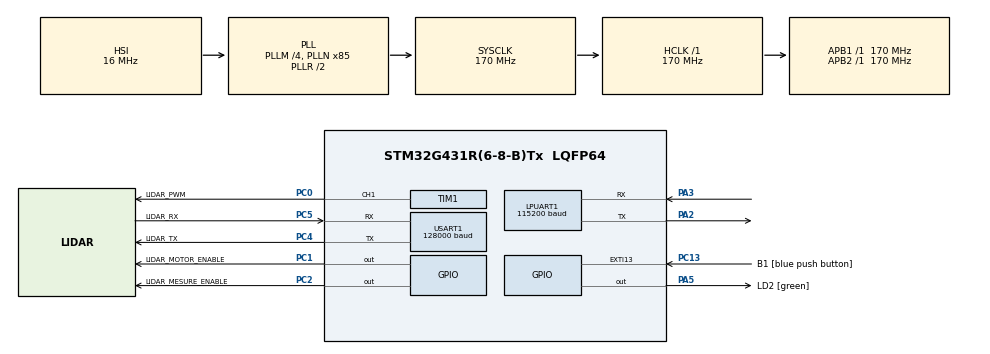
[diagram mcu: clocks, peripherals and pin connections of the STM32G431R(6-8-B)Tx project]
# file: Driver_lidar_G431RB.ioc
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Dma.Request0=USART1_RX
Dma.USART1_RX.0.Direction=DMA_PERIPH_TO_MEMORY
Dma.USART1_RX.0.EventEnable=DISABLE
Dma.USART1_RX.0.Instance=DMA1_Channel1
Dma.USART1_RX.0.MemDataAlignment=DMA_MDATAALIGN_BYTE
Dma.USART1_RX.0.MemInc=DMA_MINC_ENABLE
Dma.USART1_RX.0.Mode=DMA_CIRCULAR
Dma.USART1_RX.0.PeriphDataAlignment=DMA_PDATAALIGN_BYTE
Dma.USART1_RX.0.PeriphInc=DMA_PINC_DISABLE
Dma.USART1_RX.0.Polarity=HAL_DMAMUX_REQ_GEN_RISING
Dma.USART1_RX.0.Priority=DMA_PRIORITY_LOW
Dma.USART1_RX.0.RequestNumber=1
Dma.USART1_RX.0.SignalID=NONE
Dma.USART1_RX.0.SyncEnable=DISABLE
Dma.USART1_RX.0.SyncPolarity=HAL_DMAMUX_SYNC_NO_EVENT
Dma.USART1_RX.0.SyncRequestNumber=1
Dma.USART1_RX.0.SyncSignalID=NONE
LPUART1.BaudRate=115200
Mcu.Family=STM32G4
Mcu.Name=STM32G431R(6-8-B)Tx
Mcu.Package=LQFP64
NVIC.DMA1_Channel1_IRQn=true\:0\:0\:false\:false\:true\:false\:true\:true
NVIC.EXTI15_10_IRQn=true\:0\:0\:false\:false\:true\:true\:true\:true
NVIC.PriorityGroup=NVIC_PRIORITYGROUP_4
NVIC.USART1_IRQn=true\:0\:0\:false\:false\:true\:true\:true\:true
PA13.GPIO_Label=T_SWDIO
PA13.Mode=Serial_Wire
PA13.Signal=SYS_JTMS-SWDIO
PA14.GPIO_Label=T_SWCLK
PA14.Mode=Serial_Wire
PA14.Signal=SYS_JTCK-SWCLK
PA2.Mode=Asynchronous
PA2.Signal=LPUART1_TX
PA3.Mode=Asynchronous
PA3.Signal=LPUART1_RX
PA5.GPIO_Label=LD2 [green]
PA5.Signal=GPIO_Output
PB3.GPIO_Label=T_SWO
PB3.Signal=SYS_JTDO-SWO
PC0.GPIO_Label=LIDAR_PWM
PC0.Signal=S_TIM1_CH1
PC1.GPIO_Label=LIDAR_MOTOR_ENABLE
PC1.Signal=GPIO_Output
PC13.GPIO_Label=B1 [blue push button]
PC13.Signal=GPXTI13
PC14-OSC32_IN.Mode=LSE-External-Oscillator
PC14-OSC32_IN.Signal=RCC_OSC32_IN
PC15-OSC32_OUT.Mode=LSE-External-Oscillator
PC15-OSC32_OUT.Signal=RCC_OSC32_OUT
PC2.GPIO_Label=LIDAR_MESURE_ENABLE
PC2.Signal=GPIO_Output
PC4.GPIO_Label=LIDAR_TX
PC4.Mode=Asynchronous
PC4.Signal=USART1_TX
PC5.GPIO_Label=LIDAR_RX
PC5.Mode=Asynchronous
PC5.Signal=USART1_RX
PF0-OSC_IN.Mode=HSE-External-Oscillator
PF0-OSC_IN.Signal=RCC_OSC_IN
PF1-OSC_OUT.Mode=HSE-External-Oscillator
PF1-OSC_OUT.Signal=RCC_OSC_OUT
ProjectManager.HeapSize=0x200
ProjectManager.StackSize=0x400
ProjectManager.TargetToolchain=STM32CubeIDE
RCC.ADC12Freq_Value=170000000
RCC.AHBFreq_Value=170000000
RCC.APB1Freq_Value=170000000
RCC.APB1TimFreq_Value=170000000
RCC.APB2Freq_Value=170000000
RCC.APB2TimFreq_Value=170000000
RCC.CortexFreq_Value=170000000
RCC.EXTERNAL_CLOCK_VALUE=12288000
RCC.HCLKFreq_Value=170000000
RCC.HSE_VALUE=24000000
RCC.HSI48_VALUE=48000000
RCC.HSI_VALUE=16000000
RCC.PLLM=RCC_PLLM_DIV4
RCC.PLLN=85
RCC.RTCClockSelection=RCC_RTCCLKSOURCE_LSE
RCC.SYSCLKFreq_VALUE=170000000
RCC.SYSCLKSource=RCC_SYSCLKSOURCE_PLLCLK
RCC.USBFreq_Value=170000000
RCC.VCOOutputFreq_Value=340000000
SH.S_TIM1_CH1.0=TIM1_CH1,PWM Generation1 CH1
TIM1.Channel-PWM\ Generation1\ CH1=TIM_CHANNEL_1
USART1.BaudRate=128000
USART1.VirtualMode-Asynchronous=VM_ASYNC
VP_SYS_VS_DBSignals.Mode=DisableDeadBatterySignals
board=NUCLEO-G431RB

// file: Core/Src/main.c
/* USER CODE BEGIN Header */
/**
  ******************************************************************************
  * @file           : main.c
  * @brief          : Main program body
  ******************************************************************************
  * @attention
  *
  * Copyright (c) 2023 STMicroelectronics.
  * All rights reserved.
  *
  * This software is licensed under terms that can be found in the LICENSE file
  * in the root directory of this software component.
  * If no LICENSE file comes with this software, it is provided AS-IS.
  *
  ******************************************************************************
  */
/* USER CODE END Header */
#include "main.h"
#include "dma.h"
#include "usart.h"
#include "tim.h"
#include "gpio.h"

/* USER CODE BEGIN Includes */
#include "lidar_driver.h"
#include "transmit.h"

/* USER CODE END Includes */

/* USER CODE BEGIN PD */

#define RX_BUFFER_SIZE   100

/* USER CODE END PD */

/* USER CODE BEGIN PV */
h_lidar_t lidar;

uint8_t aTextInfoStart[] = "\r\nUSART Example : Enter characters to fill reception buffers.\r\n";

uint8_t RX_data[RX_BUFFER_SIZE];

/**
  * @brief Data buffers used to manage received data in interrupt routine
  */
uint8_t aRXBufferA[RX_BUFFER_SIZE];
uint8_t aRXBufferB[RX_BUFFER_SIZE];
uint8_t aRXBufferUser[RX_BUFFER_SIZE];

int flag = 0;

__IO uint32_t     uwNbReceivedChars;
uint8_t *pBufferReadyForUser;
uint8_t *pBufferReadyForReception;
/* USER CODE END PV */

void SystemClock_Config(void);
/* USER CODE BEGIN PFP */
void StartReception(void);
void UserDataTreatment(UART_HandleTypeDef *huart, uint8_t* pData, uint16_t Size);

/* USER CODE END PFP */

int main(void)
{

  /* MCU Configuration--------------------------------------------------------*/

  /* Reset of all peripherals, Initializes the Flash interface and the Systick. */
  HAL_Init();

  /* Configure the system clock */
  SystemClock_Config();

  /* Initialize all configured peripherals */
  MX_GPIO_Init();
  MX_DMA_Init();
  MX_USART1_UART_Init();
  MX_TIM1_Init();
  MX_LPUART1_UART_Init();

  /* Infinite loop */
  /* USER CODE BEGIN WHILE */

  printf("Starting initialization\r\n");

  HAL_Delay(1000);
  //StartReception();
  if(lidar_init(&lidar,&huart1) != SUCCESS)
  {
	  printf("Could not init lidar, aborting start");
	  Error_Handler();
  }else{
	  printf("Lidar initialized\r\n");
  }

  printf("Initialization succeeded\r\n");

  //stop_motor();

  HAL_Delay(1000);

  //HAL_GPIO_WritePin(GPIOA, GPIO_PIN_5, 1);
  while (1)
  {
	  HAL_Delay(4000);

    /* USER CODE END WHILE */

  }
}

void SystemClock_Config(void)
{
  RCC_OscInitTypeDef RCC_OscInitStruct = {0};
  RCC_ClkInitTypeDef RCC_ClkInitStruct = {0};

  /** Configure the main internal regulator output voltage
  */
  HAL_PWREx_ControlVoltageScaling(PWR_REGULATOR_VOLTAGE_SCALE1_BOOST);

  /** Initializes the RCC Oscillators according to the specified parameters
  * in the RCC_OscInitTypeDef structure.
  */
  RCC_OscInitStruct.OscillatorType = RCC_OSCILLATORTYPE_HSI;
  RCC_OscInitStruct.HSIState = RCC_HSI_ON;
  RCC_OscInitStruct.HSICalibrationValue = RCC_HSICALIBRATION_DEFAULT;
  RCC_OscInitStruct.PLL.PLLState = RCC_PLL_ON;
  RCC_OscInitStruct.PLL.PLLSource = RCC_PLLSOURCE_HSI;
  RCC_OscInitStruct.PLL.PLLM = RCC_PLLM_DIV4;
  RCC_OscInitStruct.PLL.PLLN = 85;
  RCC_OscInitStruct.PLL.PLLP = RCC_PLLP_DIV2;
  RCC_OscInitStruct.PLL.PLLQ = RCC_PLLQ_DIV2;
  RCC_OscInitStruct.PLL.PLLR = RCC_PLLR_DIV2;
  if (HAL_RCC_OscConfig(&RCC_OscInitStruct) != HAL_OK)
  {
    Error_Handler();
  }

  /** Initializes the CPU, AHB and APB buses clocks
  */
  RCC_ClkInitStruct.ClockType = RCC_CLOCKTYPE_HCLK|RCC_CLOCKTYPE_SYSCLK
                              |RCC_CLOCKTYPE_PCLK1|RCC_CLOCKTYPE_PCLK2;
  RCC_ClkInitStruct.SYSCLKSource = RCC_SYSCLKSOURCE_PLLCLK;
  RCC_ClkInitStruct.AHBCLKDivider = RCC_SYSCLK_DIV1;
  RCC_ClkInitStruct.APB1CLKDivider = RCC_HCLK_DIV1;
  RCC_ClkInitStruct.APB2CLKDivider = RCC_HCLK_DIV1;

  if (HAL_RCC_ClockConfig(&RCC_ClkInitStruct, FLASH_LATENCY_4) != HAL_OK)
  {
    Error_Handler();
  }
}

/* USER CODE BEGIN 4 */
void ProcessDMAData(uint8_t *data, uint16_t length)
{
	for(int i = 0;i < length;++i){

	}

}

void StartReception(void)
{
  if (HAL_OK != HAL_UART_Receive_DMA(&huart1, RX_data, RX_BUFFER_SIZE))
  {
    Error_Handler();
  }
}

/**
  * @brief  This function handles buffer containing received data on PC com port
  * @note   In this example, received data are sent back on UART Tx (loopback)
  *         Any other processing such as copying received data in a larger buffer to make it
  *         available for application, could be implemented here.
  * @note   This routine is executed in Interrupt context.
  * @param  huart UART handle.
  * @param  pData Pointer on received data buffer to be processed
  * @retval Size  Nb of received characters available in buffer
  */
void UserDataTreatment(UART_HandleTypeDef *huart, uint8_t* pData, uint16_t Size)
{
  /*
   * This function might be called in any of the following interrupt contexts :
   *  - DMA TC and HT events
   *  - UART IDLE line event
   *
   * pData and Size defines the buffer where received data have been copied, in order to be processed.
   * During this processing of already received data, reception is still ongoing.
   *
   */
  uint8_t* pBuff = pData;
  uint8_t  i;

  /* Implementation of loopback is on purpose implemented in direct register access,
     in order to be able to echo received characters as fast as they are received.
     Wait for TC flag to be raised at end of transmit is then removed, only TXE is checked */
  for (i = 0; i < Size; i++)
  {
    while (!(__HAL_UART_GET_FLAG(huart, UART_FLAG_TXE))) {}
    huart->Instance->TDR = *pBuff;
    pBuff++;
  }

}

//https://community.st.com/t5/stm32-mcus/faq-stm32-hal-uart-driver-api-and-callbacks/ta-p/49301
void HAL_UART_RxHalfCpltCallback(UART_HandleTypeDef *huart)
{

}
void HAL_UART_RxCpltCallback(UART_HandleTypeDef *huart)
{
    if (huart == lidar.uart)
    {
    	parse_dma_buffer();
    }

}

/* USER CODE END 4 */

void Error_Handler(void)
{
  /* USER CODE BEGIN Error_Handler_Debug */
  /* User can add his own implementation to report the HAL error return state */
  __disable_irq();
  while (1)
  {
	  printf("error\n\r");
	  HAL_Delay(2000);
  }
  /* USER CODE END Error_Handler_Debug */
}
